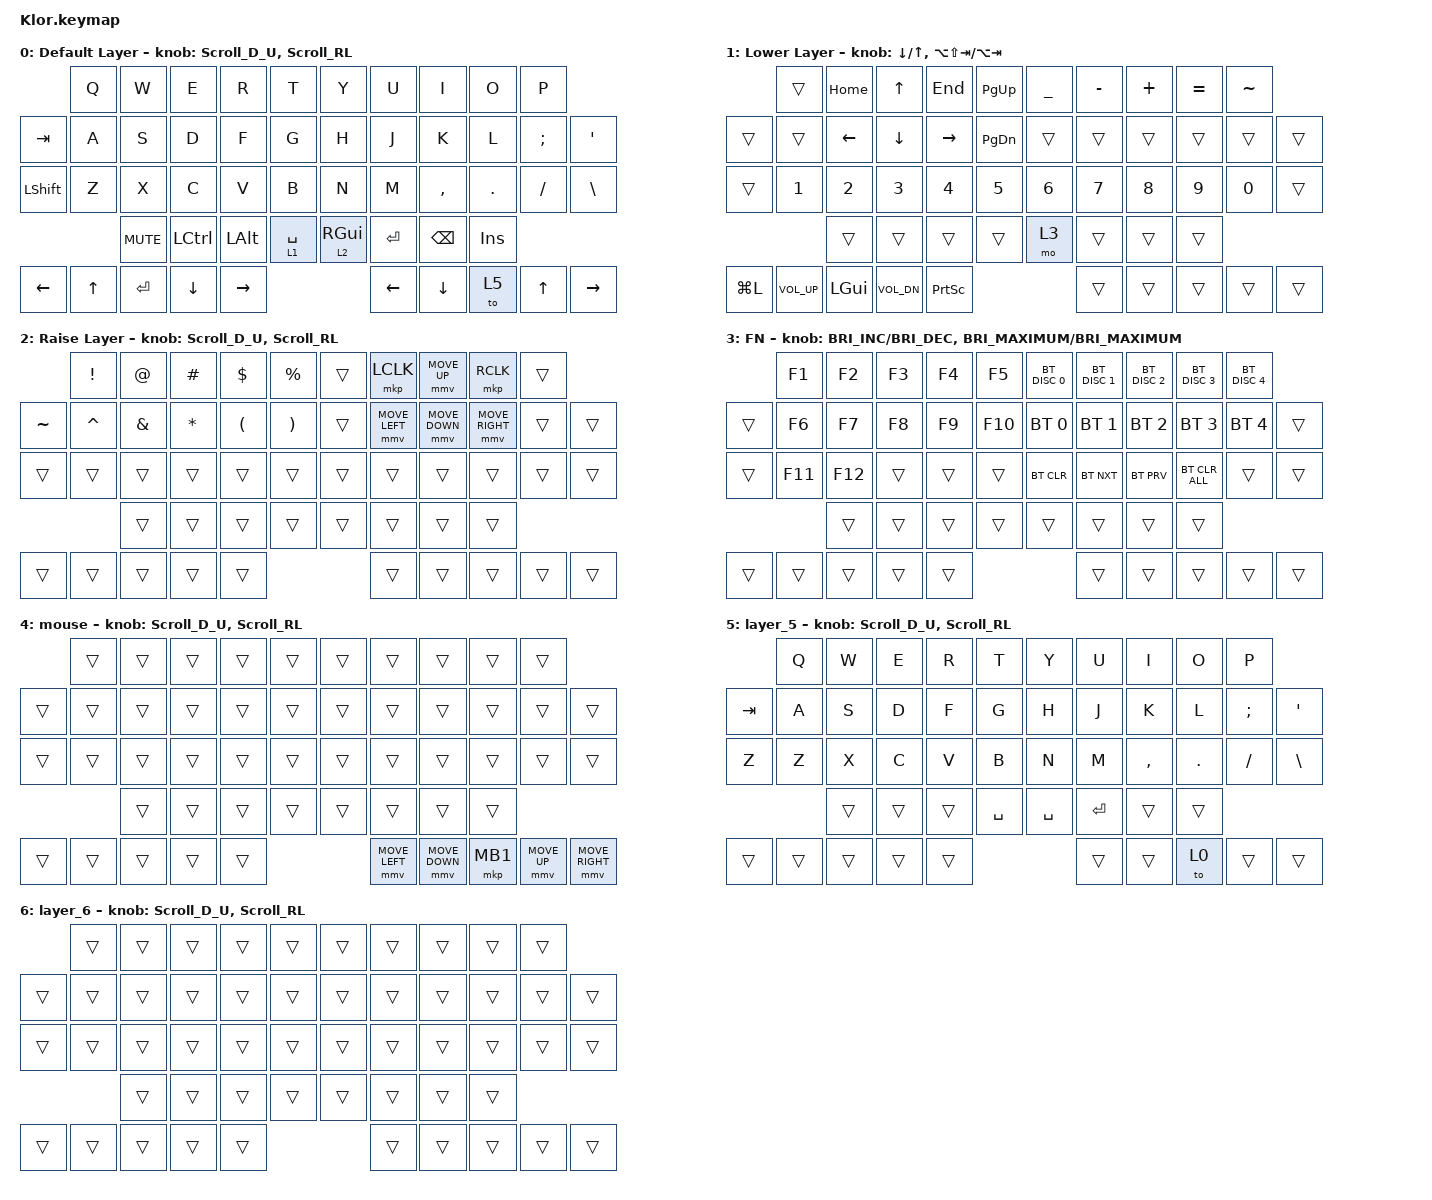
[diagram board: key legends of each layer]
/*
 * Copyright (c) 2020 The ZMK Contributors
 *
 * SPDX-License-Identifier: MIT
 */

#include <input/processors.dtsi>
#include <zephyr/dt-bindings/input/input-event-codes.h>
#include <dt-bindings/zmk/mouse.h>
#include <behaviors/mouse_keys.dtsi>
#include <behaviors.dtsi>
#include <dt-bindings/zmk/bt.h>
#include <dt-bindings/zmk/keys.h>
#include <dt-bindings/zmk/pointing.h>

#define ZMK_POINTING_DEFAULT_MOVE_VAL 1200  // 600
#define ZMK_POINTING_DEFAULT_SCRL_VAL 300   // mousescroll SPEED

&mmv_input_listener { input-processors = <&zip_xy_scaler 2 1>; };

&msc_input_listener { input-processors = <&zip_scroll_scaler 2 1>; };

&msc {
    acceleration-exponent = <1>;      // 0
    time-to-max-speed-ms = <3000>;       // 300
    delay-ms = <0>;                   // 0
};

&mmv {
    time-to-max-speed-ms = <1000>;
    acceleration-exponent = <1>;
    trigger-period-ms = <16>;
};

&soft_off {
    hold-time-ms = <3000>; // Only turn off it the key is held for 3 seconds or longer.
};

&mt { flavor = "tap-preferred"; };

&lt {
    tapping-term-ms = <300>;
    flavor = "balanced";
};

&sk {
    quick-release;
    lazy;
};

/ {
    behaviors {
        Scroll_D_U: Scroll_D_U {
            compatible = "zmk,behavior-sensor-rotate";
            label = "SCROLL_D_U";
            #sensor-binding-cells = <0>;
            bindings = <&msc SCRL_DOWN>, <&msc SCRL_UP>;

            tap-ms = <20>;
        };

        TD01: TD01 {
            compatible = "zmk,behavior-tap-dance";
            label = "TD01";
            #binding-cells = <0>;
            bindings = <&kp MINUS>, <&kp PERIOD>;
        };

        Scroll_U_D: Scroll_U_D {
            compatible = "zmk,behavior-sensor-rotate";
            label = "SCROLL_U_D";
            #sensor-binding-cells = <0>;
            bindings = <&msc SCRL_UP>, <&msc SCRL_DOWN>;

            tap-ms = <20>;
        };

        Scroll_LR: Scroll_LR {
            compatible = "zmk,behavior-sensor-rotate";
            label = "SCROLL_LR";
            #sensor-binding-cells = <0>;
            bindings = <&msc SCRL_LEFT>, <&msc SCRL_RIGHT>;

            tap-ms = <20>;
        };

        Scroll_RL: Scroll_RL {
            compatible = "zmk,behavior-sensor-rotate";
            label = "SCROLL_RL";
            #sensor-binding-cells = <0>;
            bindings = <&msc SCRL_RIGHT>, <&msc SCRL_LEFT>;

            tap-ms = <20>;
        };

        mouse_DU: mouse_DU {
            compatible = "zmk,behavior-sensor-rotate";
            label = "MOUSE_DU";
            #sensor-binding-cells = <0>;
            bindings = <&mmv MOVE_DOWN>, <&mmv MOVE_UP>;
        };

        mouse_RL: mouse_RL {
            compatible = "zmk,behavior-sensor-rotate";
            label = "MOUSE_RL";
            #sensor-binding-cells = <0>;
            bindings = <&mmv MOVE_RIGHT>, <&mmv MOVE_LEFT>;
        };
    };

    combos {
        compatible = "zmk,combos";

        Left_Parenthesis {
            bindings = <&kp LEFT_PARENTHESIS>;
            key-positions = <1 2>;
            require-prior-idle-ms = <150>;
        };

        Right_Parenthesis {
            bindings = <&kp RIGHT_PARENTHESIS>;
            key-positions = <7 8>;
            require-prior-idle-ms = <150>;
        };

        Left_Brace {
            bindings = <&kp LEFT_BRACE>;
            key-positions = <12 13>;
            require-prior-idle-ms = <150>;
        };

        Right_Brace {
            bindings = <&kp RIGHT_BRACE>;
            key-positions = <19 18>;
            require-prior-idle-ms = <150>;
        };

        Right_Bracket {
            bindings = <&kp RIGHT_BRACKET>;
            key-positions = <30 31>;
            require-prior-idle-ms = <150>;
        };

        Left_Bracket {
            bindings = <&kp LEFT_BRACKET>;
            key-positions = <24 25>;
            require-prior-idle-ms = <150>;
        };

        Escape {
            bindings = <&kp ESC>;
            key-positions = <10 0>;
            require-prior-idle-ms = <150>;
        };
    };

    keymap {
        compatible = "zmk,keymap";

        default_layer {
            display-name = "Default Layer";
            bindings = <
           &kp Q   &kp W       &kp E      &kp R         &kp T        &kp Y            &kp U      &kp I          &kp O       &kp P
&kp TAB    &kp A   &kp S       &kp D      &kp F         &kp G        &kp H            &kp J      &kp K          &kp L       &kp SEMI  &kp SINGLE_QUOTE
&kp LSHFT  &kp Z   &kp X       &kp C      &kp V         &kp B        &kp N            &kp M      &kp COMMA      &kp DOT     &kp FSLH  &kp BACKSLASH
                   &kp K_MUTE  &kp LCTRL  &kp LEFT_ALT  &lt 1 SPACE  &lt 2 RIGHT_GUI  &kp ENTER  &kp BACKSPACE  &kp INSERT
&kp LEFT   &kp UP  &kp ENTER   &kp DOWN   &kp RIGHT                                   &kp LEFT   &kp DOWN       &to 5       &kp UP    &kp RIGHT
            >;

            sensor-bindings = <&Scroll_D_U>, <&Scroll_RL>;
        };

        lower_layer {
            display-name = "Lower Layer";
            bindings = <
           &trans        &kp HOME      &kp UP        &kp END          &kp PAGE_UP    &kp UNDERSCORE  &kp MINUS  &kp PLUS  &kp EQUAL  &kp TILDE
&trans     &trans        &kp LEFT      &kp DOWN      &kp RIGHT        &kp PAGE_DOWN  &trans          &trans     &trans    &trans     &trans     &trans
&trans     &kp N1        &kp N2        &kp N3        &kp N4           &kp N5         &kp N6          &kp N7     &kp N8    &kp N9     &kp N0     &trans
                         &trans        &trans        &trans           &trans         &mo 3           &trans     &trans    &trans
&kp LG(L)  &kp C_VOL_UP  &kp LEFT_GUI  &kp C_VOL_DN  &kp PRINTSCREEN                                 &trans     &trans    &trans     &trans     &trans
            >;

            sensor-bindings =
                <&inc_dec_kp DOWN UP_ARROW>,
                <&inc_dec_kp LA(LS(TAB)) LA(TAB)>;
        };

        raise_layer {
            display-name = "Raise Layer";
            bindings = <
           &kp EXCLAMATION  &kp AT_SIGN    &kp POUND     &kp DOLLAR            &kp PERCENT            &trans  &mkp LCLK       &mmv MOVE_UP    &mkp RCLK        &trans
&kp TILDE  &kp CARET        &kp AMPERSAND  &kp ASTERISK  &kp LEFT_PARENTHESIS  &kp RIGHT_PARENTHESIS  &trans  &mmv MOVE_LEFT  &mmv MOVE_DOWN  &mmv MOVE_RIGHT  &trans  &trans
&trans     &trans           &trans         &trans        &trans                &trans                 &trans  &trans          &trans          &trans           &trans  &trans
                            &trans         &trans        &trans                &trans                 &trans  &trans          &trans          &trans
&trans     &trans           &trans         &trans        &trans                                               &trans          &trans          &trans           &trans  &trans
            >;

            sensor-bindings = <&Scroll_D_U>, <&Scroll_RL>;
        };

        FN {
            bindings = <
        &kp F1   &kp F2   &kp F3  &kp F4  &kp F5   &bt BT_DISC 0  &bt BT_DISC 1  &bt BT_DISC 2  &bt BT_DISC 3   &bt BT_DISC 4
&trans  &kp F6   &kp F7   &kp F8  &kp F9  &kp F10  &bt BT_SEL 0   &bt BT_SEL 1   &bt BT_SEL 2   &bt BT_SEL 3    &bt BT_SEL 4   &trans
&trans  &kp F11  &kp F12  &trans  &trans  &trans   &bt BT_CLR     &bt BT_NXT     &bt BT_PRV     &bt BT_CLR_ALL  &trans         &trans
                 &trans   &trans  &trans  &trans   &trans         &trans         &trans         &trans
&trans  &trans   &trans   &trans  &trans                          &trans         &trans         &trans          &trans         &trans
            >;

            sensor-bindings =
                <&inc_dec_kp C_BRIGHTNESS_INC C_BRIGHTNESS_DEC>,
                <&inc_dec_kp C_BRIGHTNESS_MAXIMUM C_BRIGHTNESS_MAXIMUM>;
        };

        mouse {
            bindings = <
        &trans  &trans  &trans  &trans  &trans  &trans  &trans          &trans          &trans    &trans
&trans  &trans  &trans  &trans  &trans  &trans  &trans  &trans          &trans          &trans    &trans        &trans
&trans  &trans  &trans  &trans  &trans  &trans  &trans  &trans          &trans          &trans    &trans        &trans
                &trans  &trans  &trans  &trans  &trans  &trans          &trans          &trans
&trans  &trans  &trans  &trans  &trans                  &mmv MOVE_LEFT  &mmv MOVE_DOWN  &mkp MB1  &mmv MOVE_UP  &mmv MOVE_RIGHT
            >;

            sensor-bindings = <&Scroll_D_U>, <&Scroll_RL>;
        };

        layer_5 {
            bindings = <
         &kp Q   &kp W   &kp E   &kp R   &kp T      &kp Y      &kp U    &kp I      &kp O    &kp P
&kp TAB  &kp A   &kp S   &kp D   &kp F   &kp G      &kp H      &kp J    &kp K      &kp L    &kp SEMI  &kp SQT
&kp Z    &kp Z   &kp X   &kp C   &kp V   &kp B      &kp N      &kp M    &kp COMMA  &kp DOT  &kp FSLH  &kp BSLH
                 &trans  &trans  &trans  &kp SPACE  &kp SPACE  &kp RET  &trans     &trans
&trans   &trans  &trans  &trans  &trans                        &trans   &trans     &to 0    &trans    &trans
            >;

            sensor-bindings = <&Scroll_D_U>, <&Scroll_RL>;
        };

        layer_6 {
            bindings = <
        &trans  &trans  &trans  &trans  &trans  &trans  &trans  &trans  &trans  &trans
&trans  &trans  &trans  &trans  &trans  &trans  &trans  &trans  &trans  &trans  &trans  &trans
&trans  &trans  &trans  &trans  &trans  &trans  &trans  &trans  &trans  &trans  &trans  &trans
                &trans  &trans  &trans  &trans  &trans  &trans  &trans  &trans
&trans  &trans  &trans  &trans  &trans                  &trans  &trans  &trans  &trans  &trans
            >;

            sensor-bindings = <&Scroll_D_U>, <&Scroll_RL>;
        };
    };

    conditional_layers {
        compatible = "zmk,conditional-layers";

        mouse_lower {
            if-layers = <1>;
            then-layer = <4>;
        };

        mouse_raise {
            if-layers = <2>;
            then-layer = <4>;
        };
    };
};
